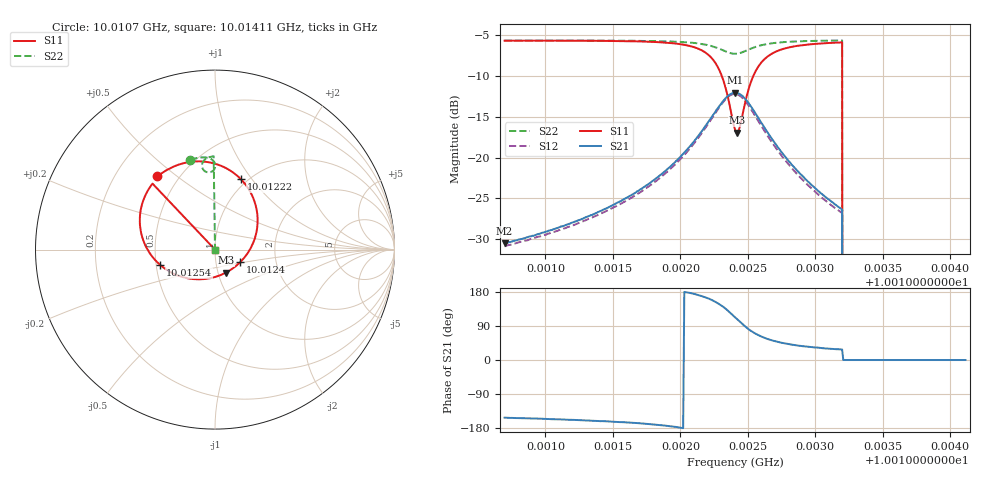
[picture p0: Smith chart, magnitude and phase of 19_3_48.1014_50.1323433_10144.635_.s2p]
#  HZ  S  RI  R  50.00
! Rohde & Schwarz Vector Network Analyzer
! Rohde-Schwarz,ZNB20-2Port,1311601062101988,3.16
! Created: UTC 12/23/2023, 3:36:29 AM
! freq[Hz]  re:S11  im:S11  re:S21  im:S21  re:S12  im:S12  re:S22  im:S22
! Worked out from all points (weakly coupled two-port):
!   401 points, 10.0107 GHz to 10.01411 GHz, reference 50 ohm
!   highest |S21| = -12.07 dB at 10.01241 GHz (marker M1); lowest = -30.5 dB at 10.0107 GHz (marker M2)
!   lowest |S11| = -16.9 dB at 10.01242 GHz (marker M3), VSWR 1.33, Z = 54.6 - j14.3 ohm
!   |S11| at or under -10 dB: 10.01231 GHz to 10.01254 GHz (234.9 kHz wide, 0.00235 % of centre); 10.0132 GHz to end of sweep
!   |S22| runs from - to -5.7 dB; largest |S21 - S12| = 0.011
!   S11 on the Smith chart (normalised r, x): 10.0107 GHz: 0.38, +0.43; 10.01222 GHz: 0.93, +0.88; 10.0124 GHz: 1.31, -0.19; 10.01254 GHz: 0.53, -0.10; 10.01411 GHz: 1.00, +0.00
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1.0010697e10  -0.3205 0.4078  -0.0264 -0.0139  -0.0246 -0.0148  -0.1371 0.5014
1.0011269e10  -0.2626 0.4465  -0.0394 -0.015  -0.037 -0.0164  -0.0973 0.5104
1.001156e10  -0.216 0.4686  -0.052 -0.015  -0.0494 -0.0171  -0.0749 0.5131
1.0011842e10  -0.1387 0.4885  -0.0761 -0.0116  -0.0727 -0.0151  -0.0492 0.5131
1.0012081e10  -0.00191 0.4791  -0.1193 0.00773  -0.1161 0.0014  -0.0208 0.5042
1.0012218e10  0.1435 0.3928  -0.1605 0.055  -0.1597 0.0453  -0.00223 0.4842
1.0012277e10  0.2121 0.2894  -0.1731 0.1005  -0.1751 0.09  0.00159 0.4673
1.0012329e10  0.2372 0.148  -0.1674 0.1539  -0.1707 0.145  -0.00338 0.4488
1.0012363e10  0.2122 0.0363  -0.1458 0.1927  -0.1507 0.1844  -0.0133 0.4374
1.0012397e10  0.14 -0.0707  -0.1076 0.2246  -0.1135 0.2168  -0.0282 0.4307
1.0012406e10  0.1162 -0.092  -0.0967 0.2298  -0.1016 0.2228  -0.0324 0.43
1.0012423e10  0.0617 -0.1281  -0.0731 0.2374  -0.077 0.2308  -0.0409 0.4304
1.0012474e10  -0.1236 -0.164  -0.00207 0.2321  -0.00771 0.2253  -0.0618 0.4412
1.0012542e10  -0.3048 -0.0861  0.0581 0.186  0.0507 0.1802  -0.0725 0.4646
1.0012602e10  -0.3825 0.012  0.077 0.1433  0.0699 0.139  -0.0703 0.4819
1.0012679e10  -0.4158 0.1176  0.0806 0.1022  0.0736 0.0999  -0.0619 0.4963
1.0012807e10  -0.412 0.2304  0.0706 0.0627  0.0645 0.0625  -0.046 0.509
1.0012978e10  -0.3838 0.3114  0.0562 0.0375  0.0515 0.0382  -0.0276 0.5163
1.0013183e10  -0.3507 0.3644  0.0435 0.0231  0.0403 0.0238  -0.00888 0.5201
1.0013226e10  0 0  0 0  0 0  0 0
1.001355e10  0 0  0 0  0 0  0 0
1.0014114e10  0 0  0 0  0 0  0 0
